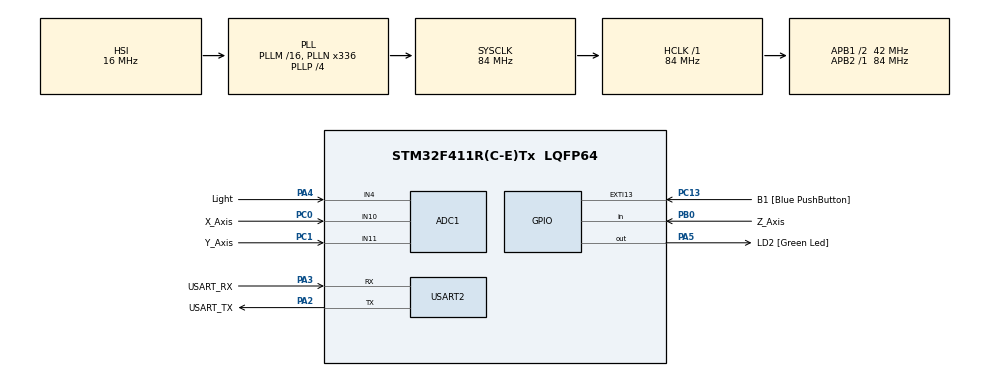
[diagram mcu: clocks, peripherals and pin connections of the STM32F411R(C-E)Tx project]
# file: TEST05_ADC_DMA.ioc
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ADC1.Channel-0\#ChannelRegularConversion=ADC_CHANNEL_10
ADC1.Channel-1\#ChannelRegularConversion=ADC_CHANNEL_11
ADC1.Channel-2\#ChannelRegularConversion=ADC_CHANNEL_4
ADC1.ContinuousConvMode=DISABLE
ADC1.DMAContinuousRequests=ENABLE
ADC1.DiscontinuousConvMode=ENABLE
ADC1.EOCSelection=ADC_EOC_SEQ_CONV
ADC1.ExternalTrigConv=ADC_EXTERNALTRIGCONV_T3_TRGO
ADC1.NbrOfConversion=3
ADC1.NbrOfConversionFlag=1
ADC1.Rank-0\#ChannelRegularConversion=1
ADC1.Rank-1\#ChannelRegularConversion=2
ADC1.Rank-2\#ChannelRegularConversion=3
ADC1.SamplingTime-0\#ChannelRegularConversion=ADC_SAMPLETIME_3CYCLES
ADC1.SamplingTime-1\#ChannelRegularConversion=ADC_SAMPLETIME_3CYCLES
ADC1.SamplingTime-2\#ChannelRegularConversion=ADC_SAMPLETIME_3CYCLES
ADC1.ScanConvMode=ENABLE
ADC1.master=1
Dma.ADC1.0.Direction=DMA_PERIPH_TO_MEMORY
Dma.ADC1.0.FIFOMode=DMA_FIFOMODE_DISABLE
Dma.ADC1.0.Instance=DMA2_Stream0
Dma.ADC1.0.MemDataAlignment=DMA_MDATAALIGN_HALFWORD
Dma.ADC1.0.MemInc=DMA_MINC_ENABLE
Dma.ADC1.0.Mode=DMA_CIRCULAR
Dma.ADC1.0.PeriphDataAlignment=DMA_PDATAALIGN_HALFWORD
Dma.ADC1.0.PeriphInc=DMA_PINC_DISABLE
Dma.ADC1.0.Priority=DMA_PRIORITY_LOW
Dma.Request0=ADC1
Mcu.Family=STM32F4
Mcu.Name=STM32F411R(C-E)Tx
Mcu.Package=LQFP64
NVIC.ADC_IRQn=true\:0\:0\:false\:false\:true\:true\:true\:true
NVIC.DMA2_Stream0_IRQn=true\:0\:0\:false\:false\:true\:false\:true\:true
NVIC.EXTI15_10_IRQn=true\:0\:0\:false\:false\:true\:true\:true\:true
NVIC.PriorityGroup=NVIC_PRIORITYGROUP_0
PA13.GPIO_Label=TMS
PA13.Mode=Serial_Wire
PA13.Signal=SYS_JTMS-SWDIO
PA14.GPIO_Label=TCK
PA14.Mode=Serial_Wire
PA14.Signal=SYS_JTCK-SWCLK
PA2.GPIO_Label=USART_TX
PA2.Mode=Asynchronous
PA2.Signal=USART2_TX
PA3.GPIO_Label=USART_RX
PA3.Mode=Asynchronous
PA3.Signal=USART2_RX
PA4.GPIO_Label=Light
PA4.Signal=ADCx_IN4
PA5.GPIO_Label=LD2 [Green Led]
PA5.Signal=GPIO_Output
PB0.GPIO_Label=Z_Axis
PB0.GPIO_PuPd=GPIO_PULLUP
PB0.Signal=GPIO_Input
PB3.GPIO_Label=SWO
PB3.Signal=SYS_JTDO-SWO
PC0.GPIO_Label=X_Axis
PC0.Signal=ADCx_IN10
PC1.GPIO_Label=Y_Axis
PC1.Signal=ADCx_IN11
PC13-ANTI_TAMP.GPIO_Label=B1 [Blue PushButton]
PC13-ANTI_TAMP.GPIO_ModeDefaultEXTI=GPIO_MODE_IT_FALLING
PC13-ANTI_TAMP.Signal=GPXTI13
PC14-OSC32_IN.Mode=LSE-External-Oscillator
PC14-OSC32_IN.Signal=RCC_OSC32_IN
PC15-OSC32_OUT.Mode=LSE-External-Oscillator
PC15-OSC32_OUT.Signal=RCC_OSC32_OUT
PH0\ -\ OSC_IN.Mode=HSE-External-Clock-Source
PH0\ -\ OSC_IN.Signal=RCC_OSC_IN
PH1\ -\ OSC_OUT.Mode=HSE-External-Clock-Source
PH1\ -\ OSC_OUT.Signal=RCC_OSC_OUT
ProjectManager.HeapSize=0x200
ProjectManager.StackSize=0x400
ProjectManager.TargetToolchain=STM32CubeIDE
RCC.48MHZClocksFreq_Value=84000000
RCC.AHBFreq_Value=84000000
RCC.APB1CLKDivider=RCC_HCLK_DIV2
RCC.APB1Freq_Value=42000000
RCC.APB1TimFreq_Value=84000000
RCC.APB2Freq_Value=84000000
RCC.APB2TimFreq_Value=84000000
RCC.CortexFreq_Value=84000000
RCC.FLatency-AdvancedSettings=FLASH_LATENCY_2
RCC.HCLKFreq_Value=84000000
RCC.HSE_VALUE=8000000
RCC.HSI_VALUE=16000000
RCC.PLLN=336
RCC.PLLP=RCC_PLLP_DIV4
RCC.SYSCLKFreq_VALUE=84000000
RCC.SYSCLKSource=RCC_SYSCLKSOURCE_PLLCLK
RCC.VCOOutputFreq_Value=336000000
SH.ADCx_IN10.0=ADC1_IN10,IN10
SH.ADCx_IN11.0=ADC1_IN11,IN11
SH.ADCx_IN4.0=ADC1_IN4,IN4
TIM3.Period=1000-1
TIM3.Prescaler=8400-1
TIM3.TIM_MasterOutputTrigger=TIM_TRGO_UPDATE
USART2.VirtualMode=VM_ASYNC
VP_TIM3_VS_ClockSourceINT.Mode=Internal
board=NUCLEO-F411RE

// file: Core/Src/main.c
/* USER CODE BEGIN Header */
/**
  ******************************************************************************
  * @file           : main.c
  * @brief          : Main program body
  ******************************************************************************
  * @attention
  *
  * Copyright (c) 2024 STMicroelectronics.
  * All rights reserved.
  *
  * This software is licensed under terms that can be found in the LICENSE file
  * in the root directory of this software component.
  * If no LICENSE file comes with this software, it is provided AS-IS.
  *
  ******************************************************************************
  */
/* USER CODE END Header */
#include "main.h"

ADC_HandleTypeDef hadc1;
DMA_HandleTypeDef hdma_adc1;

TIM_HandleTypeDef htim3;

UART_HandleTypeDef huart2;

void SystemClock_Config(void);
static void MX_GPIO_Init(void);
static void MX_DMA_Init(void);
static void MX_USART2_UART_Init(void);
static void MX_ADC1_Init(void);
static void MX_TIM3_Init(void);

/* USER CODE BEGIN 0 */
union
{
	char buf[500];
	short v1[10];
	int v2[500];
	long v3[10];
} buf;

void HAL_ADC_ConvCpltCallback(ADC_HandleTypeDef *hadc)
{

}

int Mode = 0;
void HAL_GPIO_EXTI_Callback(uint16_t GPIO_Pin)
{
	if(++Mode > 5) Mode = 0;
	CLS();
	//printf("\033[2J\n"); // Terminal screen clear
}
/* USER CODE END 0 */

int main(void)
{

  /* MCU Configuration--------------------------------------------------------*/

  /* Reset of all peripherals, Initializes the Flash interface and the Systick. */
  HAL_Init();

  /* Configure the system clock */
  SystemClock_Config();

  /* Initialize all configured peripherals */
  MX_GPIO_Init();
  MX_DMA_Init();
  MX_USART2_UART_Init();
  MX_ADC1_Init();
  MX_TIM3_Init();
  /* USER CODE BEGIN 2 */
  ProgramStart("ADC - DMA");
  HAL_TIM_Base_Start(&htim3);
  HAL_ADC_Start_DMA(&hadc1, &buf, 3);

  /* USER CODE END 2 */

  /* Infinite loop */
  /* USER CODE BEGIN WHILE */
  int lm = 1;
  while (1)
  {
    /* USER CODE END WHILE */

    /* USER CODE BEGIN 3 */
	  switch(Mode)
	  {
	  case 1:
		  if(lm != Mode) {CLS(); lm = Mode;}
		  int z = HAL_GPIO_ReadPin(Z_Axis_GPIO_Port, Z_Axis_Pin);
		  printf("\033[0;0HPosition[%d, %d, %d] : %d    \n", buf.v1[0], buf.v1[1], z, buf.v1[2]);
		  break;
	  case 2:
		  if(lm != Mode) {CLS(); lm = Mode;}
		  printf("Memory dump mode\r\n");
		  printf("\033[3;0H\n");
		  for(int i = 0; i < 20; i++)
		  {
			  for(int j = 0; j < 16; j++)
		  	  {
				  printf("%02x ",buf.buf[(i*16)+j]);
		  		  if(j == 7) printf("  ");
		  	  }
		      printf("\r\n");
		  }
		  break;
	  case 3:
		  if(lm != Mode) {CLS(); lm = Mode;}
		  printf("Memory dump mode\r\n");
		  printf("\033[3;0H\n");
		  for(int i = 0; i < 20; i++)
		  {
			  for(int j = 0; j < 8; j++)
		  	  {
				  printf("%04x ",buf.v1[(i*8)+j]);
		  		  if(j == 3) printf("  ");
		  	  }
		  	  printf("\r\n");
		  }
		  break;
	  case 4:
		  if(lm != Mode) {CLS(); lm = Mode;}
		  printf("Memory dump mode\r\n");
		  printf("\033[3;0H\n");
		  for(int i = 0; i < 20; i++)
		  {
		  	  for(int j = 0; j < 4; j++)
		  	  {
		  		  printf("%08x ",buf.v2[(i*4)+j]);
		  		  if(j == 1) printf("  ");
		  	  }
		  	  printf("\r\n");
		  }
		  break;
	  case 5:
		  if(lm != Mode) {CLS(); lm = Mode;}
		  printf("Memory dump mode\r\n");
		  printf("\033[3;0H\n");
		  for(int i = 0; i < 20; i++)
		  {
			  for(int j = 0; j < 4; j++)
			  {
				  printf("%08X ",buf.v3[(i*4)+j]);
		  		  if(j == 1) printf("  ");
		  	  }
		  	  printf("\r\n");
		  }
		  break;
	  }
  }
  /* USER CODE END 3 */
}

void SystemClock_Config(void)
{
  RCC_OscInitTypeDef RCC_OscInitStruct = {0};
  RCC_ClkInitTypeDef RCC_ClkInitStruct = {0};

  /** Configure the main internal regulator output voltage
  */
  __HAL_RCC_PWR_CLK_ENABLE();
  __HAL_PWR_VOLTAGESCALING_CONFIG(PWR_REGULATOR_VOLTAGE_SCALE1);

  /** Initializes the RCC Oscillators according to the specified parameters
  * in the RCC_OscInitTypeDef structure.
  */
  RCC_OscInitStruct.OscillatorType = RCC_OSCILLATORTYPE_HSI;
  RCC_OscInitStruct.HSIState = RCC_HSI_ON;
  RCC_OscInitStruct.HSICalibrationValue = RCC_HSICALIBRATION_DEFAULT;
  RCC_OscInitStruct.PLL.PLLState = RCC_PLL_ON;
  RCC_OscInitStruct.PLL.PLLSource = RCC_PLLSOURCE_HSI;
  RCC_OscInitStruct.PLL.PLLM = 16;
  RCC_OscInitStruct.PLL.PLLN = 336;
  RCC_OscInitStruct.PLL.PLLP = RCC_PLLP_DIV4;
  RCC_OscInitStruct.PLL.PLLQ = 4;
  if (HAL_RCC_OscConfig(&RCC_OscInitStruct) != HAL_OK)
  {
    Error_Handler();
  }

  /** Initializes the CPU, AHB and APB buses clocks
  */
  RCC_ClkInitStruct.ClockType = RCC_CLOCKTYPE_HCLK|RCC_CLOCKTYPE_SYSCLK
                              |RCC_CLOCKTYPE_PCLK1|RCC_CLOCKTYPE_PCLK2;
  RCC_ClkInitStruct.SYSCLKSource = RCC_SYSCLKSOURCE_PLLCLK;
  RCC_ClkInitStruct.AHBCLKDivider = RCC_SYSCLK_DIV1;
  RCC_ClkInitStruct.APB1CLKDivider = RCC_HCLK_DIV2;
  RCC_ClkInitStruct.APB2CLKDivider = RCC_HCLK_DIV1;

  if (HAL_RCC_ClockConfig(&RCC_ClkInitStruct, FLASH_LATENCY_2) != HAL_OK)
  {
    Error_Handler();
  }
}

static void MX_ADC1_Init(void)
{

  ADC_ChannelConfTypeDef sConfig = {0};

  /** Configure the global features of the ADC (Clock, Resolution, Data Alignment and number of conversion)
  */
  hadc1.Instance = ADC1;
  hadc1.Init.ClockPrescaler = ADC_CLOCK_SYNC_PCLK_DIV4;
  hadc1.Init.Resolution = ADC_RESOLUTION_12B;
  hadc1.Init.ScanConvMode = ENABLE;
  hadc1.Init.ContinuousConvMode = DISABLE;
  hadc1.Init.DiscontinuousConvMode = ENABLE;
  hadc1.Init.NbrOfDiscConversion = 1;
  hadc1.Init.ExternalTrigConvEdge = ADC_EXTERNALTRIGCONVEDGE_RISING;
  hadc1.Init.ExternalTrigConv = ADC_EXTERNALTRIGCONV_T3_TRGO;
  hadc1.Init.DataAlign = ADC_DATAALIGN_RIGHT;
  hadc1.Init.NbrOfConversion = 3;
  hadc1.Init.DMAContinuousRequests = ENABLE;
  hadc1.Init.EOCSelection = ADC_EOC_SEQ_CONV;
  if (HAL_ADC_Init(&hadc1) != HAL_OK)
  {
    Error_Handler();
  }

  /** Configure for the selected ADC regular channel its corresponding rank in the sequencer and its sample time.
  */
  sConfig.Channel = ADC_CHANNEL_10;
  sConfig.Rank = 1;
  sConfig.SamplingTime = ADC_SAMPLETIME_3CYCLES;
  if (HAL_ADC_ConfigChannel(&hadc1, &sConfig) != HAL_OK)
  {
    Error_Handler();
  }

  /** Configure for the selected ADC regular channel its corresponding rank in the sequencer and its sample time.
  */
  sConfig.Channel = ADC_CHANNEL_11;
  sConfig.Rank = 2;
  if (HAL_ADC_ConfigChannel(&hadc1, &sConfig) != HAL_OK)
  {
    Error_Handler();
  }

  /** Configure for the selected ADC regular channel its corresponding rank in the sequencer and its sample time.
  */
  sConfig.Channel = ADC_CHANNEL_4;
  sConfig.Rank = 3;
  if (HAL_ADC_ConfigChannel(&hadc1, &sConfig) != HAL_OK)
  {
    Error_Handler();
  }

}

static void MX_TIM3_Init(void)
{

  TIM_ClockConfigTypeDef sClockSourceConfig = {0};
  TIM_MasterConfigTypeDef sMasterConfig = {0};

  htim3.Instance = TIM3;
  htim3.Init.Prescaler = 8400-1;
  htim3.Init.CounterMode = TIM_COUNTERMODE_UP;
  htim3.Init.Period = 1000-1;
  htim3.Init.ClockDivision = TIM_CLOCKDIVISION_DIV1;
  htim3.Init.AutoReloadPreload = TIM_AUTORELOAD_PRELOAD_DISABLE;
  if (HAL_TIM_Base_Init(&htim3) != HAL_OK)
  {
    Error_Handler();
  }
  sClockSourceConfig.ClockSource = TIM_CLOCKSOURCE_INTERNAL;
  if (HAL_TIM_ConfigClockSource(&htim3, &sClockSourceConfig) != HAL_OK)
  {
    Error_Handler();
  }
  sMasterConfig.MasterOutputTrigger = TIM_TRGO_UPDATE;
  sMasterConfig.MasterSlaveMode = TIM_MASTERSLAVEMODE_DISABLE;
  if (HAL_TIMEx_MasterConfigSynchronization(&htim3, &sMasterConfig) != HAL_OK)
  {
    Error_Handler();
  }

}

static void MX_USART2_UART_Init(void)
{

  huart2.Instance = USART2;
  huart2.Init.BaudRate = 115200;
  huart2.Init.WordLength = UART_WORDLENGTH_8B;
  huart2.Init.StopBits = UART_STOPBITS_1;
  huart2.Init.Parity = UART_PARITY_NONE;
  huart2.Init.Mode = UART_MODE_TX_RX;
  huart2.Init.HwFlowCtl = UART_HWCONTROL_NONE;
  huart2.Init.OverSampling = UART_OVERSAMPLING_16;
  if (HAL_UART_Init(&huart2) != HAL_OK)
  {
    Error_Handler();
  }

}

static void MX_DMA_Init(void)
{

  /* DMA controller clock enable */
  __HAL_RCC_DMA2_CLK_ENABLE();

  /* DMA interrupt init */
  /* DMA2_Stream0_IRQn interrupt configuration */
  HAL_NVIC_SetPriority(DMA2_Stream0_IRQn, 0, 0);
  HAL_NVIC_EnableIRQ(DMA2_Stream0_IRQn);

}

static void MX_GPIO_Init(void)
{
  GPIO_InitTypeDef GPIO_InitStruct = {0};

  /* GPIO Ports Clock Enable */
  __HAL_RCC_GPIOC_CLK_ENABLE();
  __HAL_RCC_GPIOH_CLK_ENABLE();
  __HAL_RCC_GPIOA_CLK_ENABLE();
  __HAL_RCC_GPIOB_CLK_ENABLE();

  /*Configure GPIO pin Output Level */
  HAL_GPIO_WritePin(LD2_GPIO_Port, LD2_Pin, GPIO_PIN_RESET);

  /*Configure GPIO pin : B1_Pin */
  GPIO_InitStruct.Pin = B1_Pin;
  GPIO_InitStruct.Mode = GPIO_MODE_IT_FALLING;
  GPIO_InitStruct.Pull = GPIO_NOPULL;
  HAL_GPIO_Init(B1_GPIO_Port, &GPIO_InitStruct);

  /*Configure GPIO pin : LD2_Pin */
  GPIO_InitStruct.Pin = LD2_Pin;
  GPIO_InitStruct.Mode = GPIO_MODE_OUTPUT_PP;
  GPIO_InitStruct.Pull = GPIO_NOPULL;
  GPIO_InitStruct.Speed = GPIO_SPEED_FREQ_LOW;
  HAL_GPIO_Init(LD2_GPIO_Port, &GPIO_InitStruct);

  /*Configure GPIO pin : Z_Axis_Pin */
  GPIO_InitStruct.Pin = Z_Axis_Pin;
  GPIO_InitStruct.Mode = GPIO_MODE_INPUT;
  GPIO_InitStruct.Pull = GPIO_PULLUP;
  HAL_GPIO_Init(Z_Axis_GPIO_Port, &GPIO_InitStruct);

  /* EXTI interrupt init*/
  HAL_NVIC_SetPriority(EXTI15_10_IRQn, 0, 0);
  HAL_NVIC_EnableIRQ(EXTI15_10_IRQn);

}

void Error_Handler(void)
{
  __disable_irq();
  while (1)
  {
  }
}
